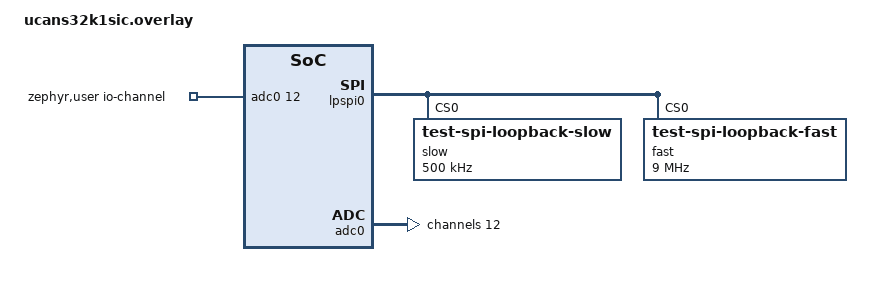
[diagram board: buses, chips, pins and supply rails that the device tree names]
/*
 * Copyright 2023 NXP
 *
 * SPDX-License-Identifier: Apache-2.0
 */

/* Short P1.3 (SPI0/MISO) with P1.4 (SPI0/MOSI) */

&lpspi0 {
	slow@0 {
		compatible = "test-spi-loopback-slow";
		reg = <0>;
		spi-max-frequency = <500000>;
	};

	fast@0 {
		compatible = "test-spi-loopback-fast";
		reg = <0>;
		spi-max-frequency = <9000000>;
	};
};

#include <zephyr/dt-bindings/adc/adc.h>

/ {
	zephyr,user {
		io-channels = <&adc0 12>;
	};
};

&pinctrl {
	adc0_default: adc0_default {
		group_1 {
			pinmux = <ADC0_SE12_PTC14>;
			drive-strength = "low";
		};
	};
};

&adc0 {
	#address-cells = <1>;
	#size-cells = <0>;
	status = "okay";
	channel@c {
		reg = <12>;
		zephyr,gain = "ADC_GAIN_1";
		zephyr,reference = "ADC_REF_INTERNAL";
		zephyr,acquisition-time = <ADC_ACQ_TIME_DEFAULT>;
		zephyr,resolution = <12>;
	};
	pinctrl-0 = <&adc0_default>;
	pinctrl-names = "default";
};

&adc1 {
	status = "disabled";
};
